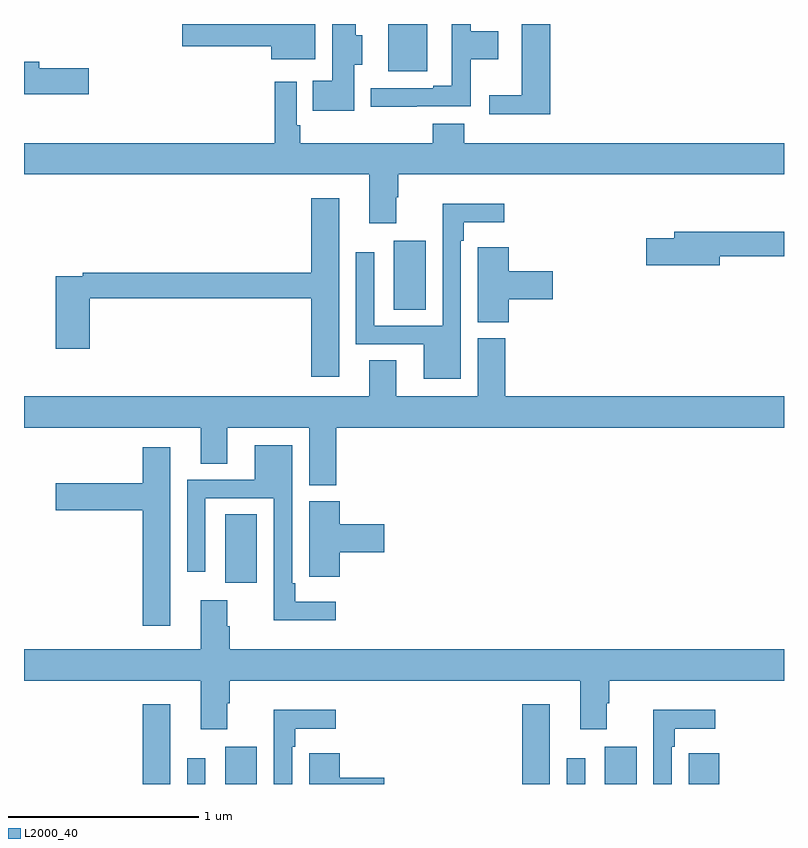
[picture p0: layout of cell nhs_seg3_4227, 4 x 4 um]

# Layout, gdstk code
import gdstk
lib = gdstk.Library(unit=1e-6, precision=1e-09)
def R(c, l, rs):  # rectangles x0, y0, x1, y1
    for r in rs: c.add(gdstk.rectangle(r[:2], r[2:], *l))
def P(c, l, *ps):  # polygons
    for p in ps: c.add(gdstk.Polygon(p, *l))
L2000_40 = (2000, 40)

nhs_seg3_4227 = lib.new_cell('nhs_seg3_4227')
R(nhs_seg3_4227, L2000_40, [(335.624,672.4,335.77,672.82), (335.859,672.4,335.955,672.535), (336.059,672.4,336.226,672.595), (337.622,672.4,337.768,672.82), (337.857,672.4,337.953,672.535), (338.057,672.4,338.224,672.595), (336.059,673.458,336.226,673.82), (336.947,674.896,337.114,675.259), (336.917,676.151,337.123,676.4)])
P(nhs_seg3_4227, L2000_40, [(336.739,676.186),(336.781,676.186),(336.781,676.341),(336.745,676.341),(336.745,676.4),(336.623,676.4),(336.623,676.102),(336.52,676.102),(336.52,675.944),(336.739,675.944)],
  [(337.769,676.4),(337.619,676.4),(337.619,676.025),(337.449,676.025),(337.449,675.926),(337.769,675.926)],
  [(336.532,676.4),(335.832,676.4),(335.832,676.283),(336.302,676.283),(336.302,676.214),(336.532,676.214)],
  [(337.067,675.966),(337.352,675.966),(337.352,676.214),(337.495,676.214),(337.495,676.362),(337.352,676.362),(337.352,676.4),(337.251,676.4),(337.251,676.075),(337.154,676.075),(337.154,676.062),(336.825,676.062),(336.825,675.965),(337.067,675.965)],
  [(335.341,676.166),(335.08,676.166),(335.08,676.202),(335,676.202),(335,676.031),(335.341,676.031)],
  [(336.958,675.488),(336.971,675.488),(336.971,675.608),(339,675.608),(339,675.772),(337.316,675.772),(337.316,675.874),(337.151,675.874),(337.151,675.772),(336.455,675.772),(336.455,675.868),(336.435,675.868),(336.435,676.096),(336.319,676.096),(336.319,675.772),(335,675.772),(335,675.608),(336.818,675.608),(336.818,675.351),(336.958,675.351)],
  [(336.658,675.484),(336.512,675.484),(336.512,675.092),(335.308,675.092),(335.308,675.072),(335.167,675.072),(335.167,674.691),(335.345,674.691),(335.345,674.956),(336.512,674.956),(336.512,674.544),(336.658,674.544)],
  [(337.299,675.26),(337.315,675.26),(337.315,675.356),(337.528,675.356),(337.528,675.454),(337.203,675.454),(337.203,674.811),(336.843,674.811),(336.843,675.199),(336.747,675.199),(336.747,674.715),(337.103,674.715),(337.103,674.534),(337.299,674.534)],
  [(338.662,675.178),(339,675.178),(339,675.307),(338.423,675.307),(338.423,675.273),(338.274,675.273),(338.274,675.131),(338.662,675.131)],
  [(337.55,674.951),(337.783,674.951),(337.783,675.098),(337.55,675.098),(337.55,675.226),(337.389,675.226),(337.389,675.113),(337.388,675.113),(337.388,674.83),(337.55,674.83)],
  [(337.388,674.745),(337.388,674.44),(336.958,674.44),(336.958,674.63),(336.818,674.63),(336.818,674.44),(335,674.44),(335,674.276),(335.93,674.276),(335.93,674.086),(336.07,674.086),(336.07,674.276),(336.5,674.276),(336.5,673.972),(336.644,673.972),(336.644,674.276),(339,674.276),(339,674.44),(337.532,674.44),(337.532,674.745)],
  [(336.64,673.36),(336.427,673.36),(336.427,673.456),(336.411,673.456),(336.411,674.182),(336.215,674.182),(336.215,674.001),(335.859,674.001),(335.859,673.518),(335.955,673.518),(335.955,673.905),(336.315,673.905),(336.315,673.262),(336.64,673.262)],
  [(335.77,674.173),(335.624,674.173),(335.624,673.983),(335.166,673.983),(335.166,673.841),(335.624,673.841),(335.624,673.233),(335.77,673.233)],
  [(336.662,673.619),(336.895,673.619),(336.895,673.766),(336.662,673.766),(336.662,673.887),(336.5,673.887),(336.5,673.603),(336.501,673.603),(336.501,673.491),(336.662,673.491)],
  [(336.07,672.824),(336.083,672.824),(336.083,672.944),(337.928,672.944),(337.928,672.687),(338.068,672.687),(338.068,672.824),(338.081,672.824),(338.081,672.944),(339,672.944),(339,673.108),(336.083,673.108),(336.083,673.229),(336.07,673.229),(336.07,673.366),(335.93,673.366),(335.93,673.108),(335,673.108),(335,672.944),(335.93,672.944),(335.93,672.687),(336.07,672.687)],
  [(336.411,672.596),(336.427,672.596),(336.427,672.692),(336.64,672.692),(336.64,672.79),(336.315,672.79),(336.315,672.4),(336.411,672.4)],
  [(338.409,672.596),(338.425,672.596),(338.425,672.692),(338.638,672.692),(338.638,672.79),(338.313,672.79),(338.313,672.4),(338.409,672.4)],
  [(336.895,672.434),(336.662,672.434),(336.662,672.562),(336.501,672.562),(336.501,672.449),(336.5,672.449),(336.5,672.4),(336.895,672.4)],
  [(338.66,672.562),(338.499,672.562),(338.499,672.449),(338.498,672.449),(338.498,672.4),(338.66,672.4)])

lib.write_gds('nhs_seg3_4227.gds')
